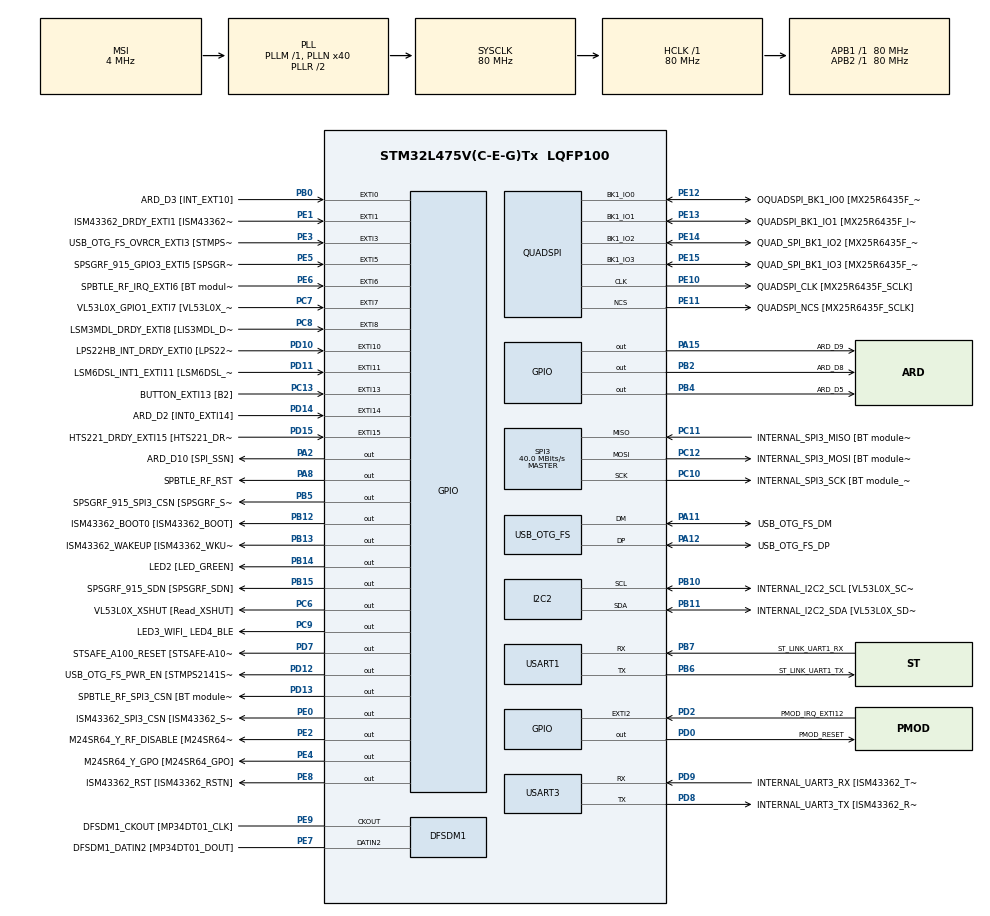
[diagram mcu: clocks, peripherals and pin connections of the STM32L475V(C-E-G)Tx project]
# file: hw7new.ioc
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FREERTOS.Queues01=myQueue01,16,uint16_t,0,Static,myQueue01Buffer,myQueue01ControlBlock
FREERTOS.Tasks01=defaultTask,0,128,StartDefaultTask,Default,NULL,Dynamic,NULL,NULL;myTask02,2,128,StartTask02,Default,NULL,Static,myTask02Buffer,myTask02ControlBlock;myTask03,1,128,StartTask03,Default,NULL,Static,myTask03Buffer,myTask03ControlBlock;myTask04,0,128,StartTask04,Default,NULL,Static,myTask04Buffer,myTask04ControlBlock
Mcu.Family=STM32L4
Mcu.Name=STM32L475V(C-E-G)Tx
Mcu.Package=LQFP100
NVIC.EXTI15_10_IRQn=true\:5\:0\:false\:false\:true\:true\:true\:true\:true
NVIC.EXTI9_5_IRQn=true\:5\:0\:false\:false\:true\:true\:true\:true\:true
NVIC.PriorityGroup=NVIC_PRIORITYGROUP_4
PA0.GPIO_Label=ARD_D1 [UART4_TX]
PA0.Signal=UART4_TX
PA1.GPIO_Label=ARD_D0 [UART4_RX]
PA1.Signal=UART4_RX
PA10.GPIO_Label=USB_OTG_FS_ID
PA10.Signal=USB_OTG_FS_ID
PA11.GPIO_Label=USB_OTG_FS_DM
PA11.Mode=Device_Only
PA11.Signal=USB_OTG_FS_DM
PA12.GPIO_Label=USB_OTG_FS_DP
PA12.Mode=Device_Only
PA12.Signal=USB_OTG_FS_DP
PA13\ (JTMS-SWDIO).GPIO_Label=SYS_JTMS_SWDIO
PA13\ (JTMS-SWDIO).Mode=Serial_Wire
PA13\ (JTMS-SWDIO).Signal=SYS_JTMS-SWDIO
PA14\ (JTCK-SWCLK).GPIO_Label=SYS_JTCK_SWCLK
PA14\ (JTCK-SWCLK).Mode=Serial_Wire
PA14\ (JTCK-SWCLK).Signal=SYS_JTCK-SWCLK
PA15\ (JTDI).GPIO_Label=ARD_D9
PA15\ (JTDI).Signal=GPIO_Output
PA2.GPIO_Label=ARD_D10 [SPI_SSN]
PA2.Signal=GPIO_Output
PA3.GPIO_Label=ARD_D4
PA3.Signal=S_TIM2_CH4
PA4.GPIO_Label=ARD_D7
PA4.Signal=ADCx_IN9
PA5.GPIO_Label=ARD_D13 [SPI1_SCK]
PA5.Signal=SPI1_SCK
PA6.GPIO_Label=ARD_D12 [SPI1_MISO]
PA6.Signal=SPI1_MISO
PA7.GPIO_Label=ARD_D11 [SPI1_MOSI]
PA7.Signal=SPI1_MOSI
PA8.GPIO_Label=SPBTLE_RF_RST
PA8.Signal=GPIO_Output
PA9.GPIO_Label=USB_OTG_FS_VBUS [STMPS2141STR_OUT]
PA9.Signal=USB_OTG_FS_VBUS
PB0.GPIO_Label=ARD_D3 [INT_EXT10]
PB0.Signal=GPXTI0
PB1.GPIO_Label=ARD_D6 [ADC1_IN6]
PB1.Signal=ADCx_IN16
PB10.GPIO_Label=INTERNAL_I2C2_SCL [VL53L0X_SCL]
PB10.GPIO_Pu=GPIO_PULLUP
PB10.Mode=I2C
PB10.Signal=I2C2_SCL
PB11.GPIO_Label=INTERNAL_I2C2_SDA [VL53L0X_SDA]
PB11.GPIO_Pu=GPIO_PULLUP
PB11.Mode=I2C
PB11.Signal=I2C2_SDA
PB12.GPIO_Label=ISM43362_BOOT0 [ISM43362_BOOT]
PB12.Signal=GPIO_Output
PB13.GPIO_Label=ISM43362_WAKEUP [ISM43362_WKUP]
PB13.Signal=GPIO_Output
PB14.GPIO_Label=LED2 [LED_GREEN]
PB14.Signal=GPIO_Output
PB15.GPIO_Label=SPSGRF_915_SDN [SPSGRF_SDN]
PB15.Signal=GPIO_Output
PB2.GPIO_Label=ARD_D8
PB2.Signal=GPIO_Output
PB3\ (JTDO-TRACESWO).GPIO_Label=SYS_JTD0_SWO
PB3\ (JTDO-TRACESWO).Signal=SYS_JTDO-SWO
PB4\ (NJTRST).GPIO_Label=ARD_D5
PB4\ (NJTRST).Signal=GPIO_Output
PB5.GPIO_Label=SPSGRF_915_SPI3_CSN [SPSGRF_SPI_CS]
PB5.PinState=GPIO_PIN_SET
PB5.Signal=GPIO_Output
PB6.GPIO_Label=ST_LINK_UART1_TX
PB6.Mode=Asynchronous
PB6.Signal=USART1_TX
PB7.GPIO_Label=ST_LINK_UART1_RX
PB7.Mode=Asynchronous
PB7.Signal=USART1_RX
PB8.GPIO_Label=ARD_D15 [I2C1_SCL]
PB8.Signal=I2C1_SCL
PB9.GPIO_Label=ARD_D14 [I2C1_SDA]
PB9.Signal=I2C1_SDA
PC0.GPIO_Label=ARD_A5 [ADC]
PC0.Signal=ADCx_IN1
PC1.GPIO_Label=ARD_A4 [ADC]
PC1.Signal=ADCx_IN2
PC10.GPIO_Label=INTERNAL_SPI3_SCK [BT module_SPI_SCLK] [ISM43362_SCK]
PC10.Mode=Full_Duplex_Master
PC10.Signal=SPI3_SCK
PC11.GPIO_Label=INTERNAL_SPI3_MISO [BT module_SPI_MISO] [ISM43362_MISO]
PC11.Mode=Full_Duplex_Master
PC11.Signal=SPI3_MISO
PC12.GPIO_Label=INTERNAL_SPI3_MOSI [BT module_SPI_MOSI] [ISM43362_MOSI]
PC12.Mode=Full_Duplex_Master
PC12.Signal=SPI3_MOSI
PC13.GPIO_Label=BUTTON_EXTI13 [B2]
PC13.GPIO_ModeDefaultEXTI=GPIO_MODE_IT_FALLING
PC13.Signal=GPXTI13
PC14-OSC32_IN\ (PC14).Mode=LSE-External-Oscillator
PC14-OSC32_IN\ (PC14).Signal=RCC_OSC32_IN
PC15-OSC32_OUT\ (PC15).Mode=LSE-External-Oscillator
PC15-OSC32_OUT\ (PC15).Signal=RCC_OSC32_OUT
PC2.GPIO_Label=ARD_A3 [ADC]
PC2.Signal=ADCx_IN3
PC3.GPIO_Label=ARD_A2 [ADC]
PC3.Signal=ADCx_IN4
PC4.GPIO_Label=ARD_A1 [ADC]
PC4.Signal=ADCx_IN13
PC5.GPIO_Label=ARD_A0 [ADC]
PC5.Signal=ADCx_IN14
PC6.GPIO_Label=VL53L0X_XSHUT [Read_XSHUT]
PC6.Signal=GPIO_Output
PC7.GPIO_Label=VL53L0X_GPIO1_EXTI7 [VL53L0X_GPIO1]
PC7.Signal=GPXTI7
PC8.GPIO_Label=LSM3MDL_DRDY_EXTI8 [LIS3MDL_DRDY]
PC8.Signal=GPXTI8
PC9.GPIO_Label=LED3_WIFI_ LED4_BLE
PC9.Signal=GPIO_Output
PD0.GPIO_Label=PMOD_RESET
PD0.Signal=GPIO_Output
PD1.GPIO_Label=PMOD_SPI2_SCK
PD1.Signal=SPI2_SCK
PD10.GPIO_Label=LPS22HB_INT_DRDY_EXTI0 [LPS22HB_INT_DRDY] 
PD10.Signal=GPXTI10
PD11.GPIO_Label=LSM6DSL_INT1_EXTI11 [LSM6DSL_INT1]
PD11.Signal=GPXTI11
PD12.GPIO_Label=USB_OTG_FS_PWR_EN [STMPS2141STR_EN]
PD12.Signal=GPIO_Output
PD13.GPIO_Label=SPBTLE_RF_SPI3_CSN [BT module_SPI_CS]
PD13.PinState=GPIO_PIN_SET
PD13.Signal=GPIO_Output
PD14.GPIO_Label=ARD_D2 [INT0_EXTI14]
PD14.Signal=GPXTI14
PD15.GPIO_Label=HTS221_DRDY_EXTI15 [HTS221_DRDY]
PD15.Signal=GPXTI15
PD2.GPIO_Label=PMOD_IRQ_EXTI12
PD2.Signal=GPXTI2
PD3.GPIO_Label=PMOD_UART2_CTS
PD3.Signal=USART2_CTS
PD4.GPIO_Label=PMOD_UART2_RTS
PD4.Signal=USART2_RTS
PD5.GPIO_Label=PMOD_UART2_TX
PD5.Signal=USART2_TX
PD6.GPIO_Label=PMOD_UART2_RX
PD6.Signal=USART2_RX
PD7.GPIO_Label=STSAFE_A100_RESET [STSAFE-A100_RESET]
PD7.Signal=GPIO_Output
PD8.GPIO_Label=INTERNAL_UART3_TX [ISM43362_RX]
PD8.Mode=Asynchronous
PD8.Signal=USART3_TX
PD9.GPIO_Label=INTERNAL_UART3_RX [ISM43362_TX]
PD9.Mode=Asynchronous
PD9.Signal=USART3_RX
PE0.GPIO_Label=ISM43362_SPI3_CSN [ISM43362_SSN]
PE0.PinState=GPIO_PIN_SET
PE0.Signal=GPIO_Output
PE1.GPIO_Label=ISM43362_DRDY_EXTI1 [ISM43362_DATARDY]
PE1.Signal=GPXTI1
PE10.GPIO_Label=QUADSPI_CLK [MX25R6435F_SCLK]
PE10.Mode=Single Bank
PE10.Signal=QUADSPI_CLK
PE11.GPIO_Label=QUADSPI_NCS [MX25R6435F_SCLK]
PE11.Mode=Single Bank
PE11.Signal=QUADSPI_NCS
PE12.GPIO_Label=OQUADSPI_BK1_IO0 [MX25R6435F_IO0]
PE12.Mode=Single Bank
PE12.Signal=QUADSPI_BK1_IO0
PE13.GPIO_Label=QUADSPI_BK1_IO1 [MX25R6435F_IO1]
PE13.Mode=Single Bank
PE13.Signal=QUADSPI_BK1_IO1
PE14.GPIO_Label=QUAD_SPI_BK1_IO2 [MX25R6435F_IO2]
PE14.Mode=Single Bank
PE14.Signal=QUADSPI_BK1_IO2
PE15.GPIO_Label=QUAD_SPI_BK1_IO3 [MX25R6435F_IO3]
PE15.Mode=Single Bank
PE15.Signal=QUADSPI_BK1_IO3
PE2.GPIO_Label=M24SR64_Y_RF_DISABLE [M24SR64_RFDIS]
PE2.Signal=GPIO_Output
PE3.GPIO_Label=USB_OTG_FS_OVRCR_EXTI3 [STMPS2141STR_FAULT]
PE3.Signal=GPXTI3
PE4.GPIO_Label=M24SR64_Y_GPO [M24SR64_GPO]
PE4.Signal=GPIO_Output
PE5.GPIO_Label=SPSGRF_915_GPIO3_EXTI5 [SPSGRF_GPIO_3]
PE5.Signal=GPXTI5
PE6.GPIO_Label=SPBTLE_RF_IRQ_EXTI6 [BT module_SPI_IRQ]
PE6.Signal=GPXTI6
PE7.GPIO_Label=DFSDM1_DATIN2 [MP34DT01_DOUT]
PE7.Signal=S_DATAIN2DFSDM1
PE8.GPIO_Label=ISM43362_RST [ISM43362_RSTN]
PE8.Signal=GPIO_Output
PE9.GPIO_Label=DFSDM1_CKOUT [MP34DT01_CLK]
PE9.Signal=S_CKOUTDFSDM1
ProjectManager.HeapSize=0x200
ProjectManager.StackSize=0x400
ProjectManager.TargetToolchain=STM32CubeIDE
QUADSPI.ClockPrescaler=2
QUADSPI.FifoThreshold=4
QUADSPI.FlashSize=23
QUADSPI.SampleShifting=QSPI_SAMPLE_SHIFTING_HALFCYCLE
RCC.ADCFreq_Value=48000000
RCC.AHBFreq_Value=80000000
RCC.APB1Freq_Value=80000000
RCC.APB1TimFreq_Value=80000000
RCC.APB2Freq_Value=80000000
RCC.APB2TimFreq_Value=80000000
RCC.CortexFreq_Value=80000000
RCC.HCLKFreq_Value=80000000
RCC.HSE_VALUE=8000000
RCC.HSI_VALUE=16000000
RCC.MSI_VALUE=4000000
RCC.PLLN=40
RCC.PLLSAI1N=24
RCC.SYSCLKFreq_VALUE=80000000
RCC.SYSCLKSource=RCC_SYSCLKSOURCE_PLLCLK
RCC.USBFreq_Value=48000000
RCC.VCOOutputFreq_Value=160000000
SH.ADCx_IN1.0=ADC1_IN1
SH.ADCx_IN13.0=ADC1_IN13
SH.ADCx_IN14.0=ADC1_IN14
SH.ADCx_IN16.0=ADC1_IN16
SH.ADCx_IN2.0=ADC1_IN2
SH.ADCx_IN3.0=ADC1_IN3
SH.ADCx_IN4.0=ADC1_IN4
SH.ADCx_IN9.0=ADC1_IN9
SH.S_CKOUTDFSDM1.0=DFSDM1_CKOUT,CKOUT
SH.S_CKOUTDFSDM1.1=DFSDM1_CKOUT,PDM_SPI_Input_from_ch12_and_Internal_Clock
SH.S_DATAIN2DFSDM1.0=DFSDM1_DATIN2,PDM_SPI_Input_from_ch12_and_Internal_Clock
SH.S_TIM2_CH4.0=TIM2_CH4
SPI3.CalculateBaudRate=40.0 MBits/s
SPI3.Direction=SPI_DIRECTION_2LINES
SPI3.Mode=SPI_MODE_MASTER
SPI3.VirtualType=VM_MASTER
USART1.VirtualMode-Asynchronous=VM_ASYNC
USART3.VirtualMode-Asynchronous=VM_ASYNC
USB_OTG_FS.VirtualMode=Device_Only
VP_FREERTOS_VS_CMSIS_V1.Mode=CMSIS_V1
board=B-L475E-IOT01A2

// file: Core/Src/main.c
/* USER CODE BEGIN Header */
/**
  ******************************************************************************
  * @file           : main.c
  * @brief          : Main program body
  ******************************************************************************
  * @attention
  *
  * Copyright (c) 2025 STMicroelectronics.
  * All rights reserved.
  *
  * This software is licensed under terms that can be found in the LICENSE file
  * in the root directory of this software component.
  * If no LICENSE file comes with this software, it is provided AS-IS.
  *
  ******************************************************************************
  */
/* USER CODE END Header */
#include "main.h"
#include "cmsis_os.h"

/* USER CODE BEGIN Includes */
#include "arm_math.h"
#include "stm32l475e_iot01_accelero.h"
#include <stdio.h>

/* USER CODE END Includes */

DFSDM_Channel_HandleTypeDef hdfsdm1_channel1;

I2C_HandleTypeDef hi2c2;

QSPI_HandleTypeDef hqspi;

SPI_HandleTypeDef hspi3;

UART_HandleTypeDef huart1;
UART_HandleTypeDef huart3;

PCD_HandleTypeDef hpcd_USB_OTG_FS;

osThreadId defaultTaskHandle;
osThreadId myTask02Handle;
uint32_t myTask02Buffer[ 128 ];
osStaticThreadDef_t myTask02ControlBlock;
osThreadId myTask03Handle;
uint32_t myTask03Buffer[ 128 ];
osStaticThreadDef_t myTask03ControlBlock;
osThreadId myTask04Handle;
uint32_t myTask04Buffer[ 128 ];
osStaticThreadDef_t myTask04ControlBlock;
osMessageQId myQueue01Handle;
uint8_t myQueue01Buffer[ 16 * sizeof( uint16_t ) ];
osStaticMessageQDef_t myQueue01ControlBlock;
/* USER CODE BEGIN PV */
#define BLOCK_SIZE 1
#define NUM_TAPS 5

// FIR coefficients: simple low-pass filter (moving average)
float32_t firCoeffs[NUM_TAPS] = {
    0.2, 0.2, 0.2, 0.2, 0.2
};

// FIR filter instances for X, Y, Z
arm_fir_instance_f32 Sx, Sy, Sz;

// State buffers (must be size NUM_TAPS + BLOCK_SIZE - 1)
float32_t firStateX[NUM_TAPS + BLOCK_SIZE - 1];
float32_t firStateY[NUM_TAPS + BLOCK_SIZE - 1];
float32_t firStateZ[NUM_TAPS + BLOCK_SIZE - 1];

// Input/output buffers
float32_t inputX, inputY, inputZ;
float32_t outputX, outputY, outputZ;
/* USER CODE END PV */

void SystemClock_Config(void);
static void MX_GPIO_Init(void);
static void MX_DFSDM1_Init(void);
static void MX_I2C2_Init(void);
static void MX_QUADSPI_Init(void);
static void MX_SPI3_Init(void);
static void MX_USART1_UART_Init(void);
static void MX_USART3_UART_Init(void);
static void MX_USB_OTG_FS_PCD_Init(void);
void StartDefaultTask(void const * argument);
void StartTask02(void const * argument);
void StartTask03(void const * argument);
void StartTask04(void const * argument);

/* USER CODE BEGIN PFP */
int __io_putchar(int ch){
	HAL_UART_Transmit(&huart1, (uint8_t *)&ch, 1, 0xFFFF);
	return ch;
}

/* USER CODE END PFP */

int main(void)
{

  /* MCU Configuration--------------------------------------------------------*/

  /* Reset of all peripherals, Initializes the Flash interface and the Systick. */
  HAL_Init();

  /* Configure the system clock */
  SystemClock_Config();

  /* Initialize all configured peripherals */
  MX_GPIO_Init();
  MX_DFSDM1_Init();
  MX_I2C2_Init();
  MX_QUADSPI_Init();
  MX_SPI3_Init();
  MX_USART1_UART_Init();
  MX_USART3_UART_Init();
  MX_USB_OTG_FS_PCD_Init();
  /* USER CODE BEGIN 2 */
  BSP_ACCELERO_Init();

  /* USER CODE END 2 */

  /* Create the queue(s) */
  /* definition and creation of myQueue01 */
  osMessageQStaticDef(myQueue01, 16, uint16_t, myQueue01Buffer, &myQueue01ControlBlock);
  myQueue01Handle = osMessageCreate(osMessageQ(myQueue01), NULL);

  /* Create the thread(s) */
  /* definition and creation of defaultTask */
  osThreadDef(defaultTask, StartDefaultTask, osPriorityNormal, 0, 128);
  defaultTaskHandle = osThreadCreate(osThread(defaultTask), NULL);

  /* definition and creation of myTask02 */
  osThreadStaticDef(myTask02, StartTask02, osPriorityHigh, 0, 128, myTask02Buffer, &myTask02ControlBlock);
  myTask02Handle = osThreadCreate(osThread(myTask02), NULL);

  /* definition and creation of myTask03 */
  osThreadStaticDef(myTask03, StartTask03, osPriorityAboveNormal, 0, 128, myTask03Buffer, &myTask03ControlBlock);
  myTask03Handle = osThreadCreate(osThread(myTask03), NULL);

  /* definition and creation of myTask04 */
  osThreadStaticDef(myTask04, StartTask04, osPriorityNormal, 0, 128, myTask04Buffer, &myTask04ControlBlock);
  myTask04Handle = osThreadCreate(osThread(myTask04), NULL);

  /* Start scheduler */
  osKernelStart();

  /* We should never get here as control is now taken by the scheduler */

  /* Infinite loop */
  while (1)
  {

  }
}

void SystemClock_Config(void)
{
  RCC_OscInitTypeDef RCC_OscInitStruct = {0};
  RCC_ClkInitTypeDef RCC_ClkInitStruct = {0};

  /** Configure the main internal regulator output voltage
  */
  if (HAL_PWREx_ControlVoltageScaling(PWR_REGULATOR_VOLTAGE_SCALE1) != HAL_OK)
  {
    Error_Handler();
  }

  /** Configure LSE Drive Capability
  */
  HAL_PWR_EnableBkUpAccess();
  __HAL_RCC_LSEDRIVE_CONFIG(RCC_LSEDRIVE_LOW);

  /** Initializes the RCC Oscillators according to the specified parameters
  * in the RCC_OscInitTypeDef structure.
  */
  RCC_OscInitStruct.OscillatorType = RCC_OSCILLATORTYPE_LSE|RCC_OSCILLATORTYPE_MSI;
  RCC_OscInitStruct.LSEState = RCC_LSE_ON;
  RCC_OscInitStruct.MSIState = RCC_MSI_ON;
  RCC_OscInitStruct.MSICalibrationValue = 0;
  RCC_OscInitStruct.MSIClockRange = RCC_MSIRANGE_6;
  RCC_OscInitStruct.PLL.PLLState = RCC_PLL_ON;
  RCC_OscInitStruct.PLL.PLLSource = RCC_PLLSOURCE_MSI;
  RCC_OscInitStruct.PLL.PLLM = 1;
  RCC_OscInitStruct.PLL.PLLN = 40;
  RCC_OscInitStruct.PLL.PLLP = RCC_PLLP_DIV7;
  RCC_OscInitStruct.PLL.PLLQ = RCC_PLLQ_DIV2;
  RCC_OscInitStruct.PLL.PLLR = RCC_PLLR_DIV2;
  if (HAL_RCC_OscConfig(&RCC_OscInitStruct) != HAL_OK)
  {
    Error_Handler();
  }

  /** Initializes the CPU, AHB and APB buses clocks
  */
  RCC_ClkInitStruct.ClockType = RCC_CLOCKTYPE_HCLK|RCC_CLOCKTYPE_SYSCLK
                              |RCC_CLOCKTYPE_PCLK1|RCC_CLOCKTYPE_PCLK2;
  RCC_ClkInitStruct.SYSCLKSource = RCC_SYSCLKSOURCE_PLLCLK;
  RCC_ClkInitStruct.AHBCLKDivider = RCC_SYSCLK_DIV1;
  RCC_ClkInitStruct.APB1CLKDivider = RCC_HCLK_DIV1;
  RCC_ClkInitStruct.APB2CLKDivider = RCC_HCLK_DIV1;

  if (HAL_RCC_ClockConfig(&RCC_ClkInitStruct, FLASH_LATENCY_4) != HAL_OK)
  {
    Error_Handler();
  }

  /** Enable MSI Auto calibration
  */
  HAL_RCCEx_EnableMSIPLLMode();
}

static void MX_DFSDM1_Init(void)
{

  hdfsdm1_channel1.Instance = DFSDM1_Channel1;
  hdfsdm1_channel1.Init.OutputClock.Activation = ENABLE;
  hdfsdm1_channel1.Init.OutputClock.Selection = DFSDM_CHANNEL_OUTPUT_CLOCK_SYSTEM;
  hdfsdm1_channel1.Init.OutputClock.Divider = 2;
  hdfsdm1_channel1.Init.Input.Multiplexer = DFSDM_CHANNEL_EXTERNAL_INPUTS;
  hdfsdm1_channel1.Init.Input.DataPacking = DFSDM_CHANNEL_STANDARD_MODE;
  hdfsdm1_channel1.Init.Input.Pins = DFSDM_CHANNEL_FOLLOWING_CHANNEL_PINS;
  hdfsdm1_channel1.Init.SerialInterface.Type = DFSDM_CHANNEL_SPI_RISING;
  hdfsdm1_channel1.Init.SerialInterface.SpiClock = DFSDM_CHANNEL_SPI_CLOCK_INTERNAL;
  hdfsdm1_channel1.Init.Awd.FilterOrder = DFSDM_CHANNEL_FASTSINC_ORDER;
  hdfsdm1_channel1.Init.Awd.Oversampling = 1;
  hdfsdm1_channel1.Init.Offset = 0;
  hdfsdm1_channel1.Init.RightBitShift = 0x00;
  if (HAL_DFSDM_ChannelInit(&hdfsdm1_channel1) != HAL_OK)
  {
    Error_Handler();
  }

}

static void MX_I2C2_Init(void)
{

  hi2c2.Instance = I2C2;
  hi2c2.Init.Timing = 0x00000E14;
  hi2c2.Init.OwnAddress1 = 0;
  hi2c2.Init.AddressingMode = I2C_ADDRESSINGMODE_7BIT;
  hi2c2.Init.DualAddressMode = I2C_DUALADDRESS_DISABLE;
  hi2c2.Init.OwnAddress2 = 0;
  hi2c2.Init.OwnAddress2Masks = I2C_OA2_NOMASK;
  hi2c2.Init.GeneralCallMode = I2C_GENERALCALL_DISABLE;
  hi2c2.Init.NoStretchMode = I2C_NOSTRETCH_DISABLE;
  if (HAL_I2C_Init(&hi2c2) != HAL_OK)
  {
    Error_Handler();
  }

  /** Configure Analogue filter
  */
  if (HAL_I2CEx_ConfigAnalogFilter(&hi2c2, I2C_ANALOGFILTER_ENABLE) != HAL_OK)
  {
    Error_Handler();
  }

  /** Configure Digital filter
  */
  if (HAL_I2CEx_ConfigDigitalFilter(&hi2c2, 0) != HAL_OK)
  {
    Error_Handler();
  }

}

static void MX_QUADSPI_Init(void)
{

  /* QUADSPI parameter configuration*/
  hqspi.Instance = QUADSPI;
  hqspi.Init.ClockPrescaler = 2;
  hqspi.Init.FifoThreshold = 4;
  hqspi.Init.SampleShifting = QSPI_SAMPLE_SHIFTING_HALFCYCLE;
  hqspi.Init.FlashSize = 23;
  hqspi.Init.ChipSelectHighTime = QSPI_CS_HIGH_TIME_1_CYCLE;
  hqspi.Init.ClockMode = QSPI_CLOCK_MODE_0;
  if (HAL_QSPI_Init(&hqspi) != HAL_OK)
  {
    Error_Handler();
  }

}

static void MX_SPI3_Init(void)
{

  /* SPI3 parameter configuration*/
  hspi3.Instance = SPI3;
  hspi3.Init.Mode = SPI_MODE_MASTER;
  hspi3.Init.Direction = SPI_DIRECTION_2LINES;
  hspi3.Init.DataSize = SPI_DATASIZE_4BIT;
  hspi3.Init.CLKPolarity = SPI_POLARITY_LOW;
  hspi3.Init.CLKPhase = SPI_PHASE_1EDGE;
  hspi3.Init.NSS = SPI_NSS_SOFT;
  hspi3.Init.BaudRatePrescaler = SPI_BAUDRATEPRESCALER_2;
  hspi3.Init.FirstBit = SPI_FIRSTBIT_MSB;
  hspi3.Init.TIMode = SPI_TIMODE_DISABLE;
  hspi3.Init.CRCCalculation = SPI_CRCCALCULATION_DISABLE;
  hspi3.Init.CRCPolynomial = 7;
  hspi3.Init.CRCLength = SPI_CRC_LENGTH_DATASIZE;
  hspi3.Init.NSSPMode = SPI_NSS_PULSE_ENABLE;
  if (HAL_SPI_Init(&hspi3) != HAL_OK)
  {
    Error_Handler();
  }

}

static void MX_USART1_UART_Init(void)
{

  huart1.Instance = USART1;
  huart1.Init.BaudRate = 115200;
  huart1.Init.WordLength = UART_WORDLENGTH_8B;
  huart1.Init.StopBits = UART_STOPBITS_1;
  huart1.Init.Parity = UART_PARITY_NONE;
  huart1.Init.Mode = UART_MODE_TX_RX;
  huart1.Init.HwFlowCtl = UART_HWCONTROL_NONE;
  huart1.Init.OverSampling = UART_OVERSAMPLING_16;
  huart1.Init.OneBitSampling = UART_ONE_BIT_SAMPLE_DISABLE;
  huart1.AdvancedInit.AdvFeatureInit = UART_ADVFEATURE_NO_INIT;
  if (HAL_UART_Init(&huart1) != HAL_OK)
  {
    Error_Handler();
  }

}

static void MX_USART3_UART_Init(void)
{

  huart3.Instance = USART3;
  huart3.Init.BaudRate = 115200;
  huart3.Init.WordLength = UART_WORDLENGTH_8B;
  huart3.Init.StopBits = UART_STOPBITS_1;
  huart3.Init.Parity = UART_PARITY_NONE;
  huart3.Init.Mode = UART_MODE_TX_RX;
  huart3.Init.HwFlowCtl = UART_HWCONTROL_NONE;
  huart3.Init.OverSampling = UART_OVERSAMPLING_16;
  huart3.Init.OneBitSampling = UART_ONE_BIT_SAMPLE_DISABLE;
  huart3.AdvancedInit.AdvFeatureInit = UART_ADVFEATURE_NO_INIT;
  if (HAL_UART_Init(&huart3) != HAL_OK)
  {
    Error_Handler();
  }

}

static void MX_USB_OTG_FS_PCD_Init(void)
{

  hpcd_USB_OTG_FS.Instance = USB_OTG_FS;
  hpcd_USB_OTG_FS.Init.dev_endpoints = 6;
  hpcd_USB_OTG_FS.Init.speed = PCD_SPEED_FULL;
  hpcd_USB_OTG_FS.Init.phy_itface = PCD_PHY_EMBEDDED;
  hpcd_USB_OTG_FS.Init.Sof_enable = DISABLE;
  hpcd_USB_OTG_FS.Init.low_power_enable = DISABLE;
  hpcd_USB_OTG_FS.Init.lpm_enable = DISABLE;
  hpcd_USB_OTG_FS.Init.battery_charging_enable = DISABLE;
  hpcd_USB_OTG_FS.Init.use_dedicated_ep1 = DISABLE;
  hpcd_USB_OTG_FS.Init.vbus_sensing_enable = DISABLE;
  if (HAL_PCD_Init(&hpcd_USB_OTG_FS) != HAL_OK)
  {
    Error_Handler();
  }

}

static void MX_GPIO_Init(void)
{
  GPIO_InitTypeDef GPIO_InitStruct = {0};

  /* GPIO Ports Clock Enable */
  __HAL_RCC_GPIOE_CLK_ENABLE();
  __HAL_RCC_GPIOC_CLK_ENABLE();
  __HAL_RCC_GPIOA_CLK_ENABLE();
  __HAL_RCC_GPIOB_CLK_ENABLE();
  __HAL_RCC_GPIOD_CLK_ENABLE();

  /*Configure GPIO pin Output Level */
  HAL_GPIO_WritePin(GPIOE, M24SR64_Y_RF_DISABLE_Pin|M24SR64_Y_GPO_Pin|ISM43362_RST_Pin, GPIO_PIN_RESET);

  /*Configure GPIO pin Output Level */
  HAL_GPIO_WritePin(GPIOA, ARD_D10_Pin|SPBTLE_RF_RST_Pin|ARD_D9_Pin, GPIO_PIN_RESET);

  /*Configure GPIO pin Output Level */
  HAL_GPIO_WritePin(GPIOB, ARD_D8_Pin|ISM43362_BOOT0_Pin|ISM43362_WAKEUP_Pin|LED2_Pin
                          |SPSGRF_915_SDN_Pin|ARD_D5_Pin, GPIO_PIN_RESET);

  /*Configure GPIO pin Output Level */
  HAL_GPIO_WritePin(GPIOD, USB_OTG_FS_PWR_EN_Pin|PMOD_RESET_Pin|STSAFE_A100_RESET_Pin, GPIO_PIN_RESET);

  /*Configure GPIO pin Output Level */
  HAL_GPIO_WritePin(SPBTLE_RF_SPI3_CSN_GPIO_Port, SPBTLE_RF_SPI3_CSN_Pin, GPIO_PIN_SET);

  /*Configure GPIO pin Output Level */
  HAL_GPIO_WritePin(GPIOC, VL53L0X_XSHUT_Pin|LED3_WIFI__LED4_BLE_Pin, GPIO_PIN_RESET);

  /*Configure GPIO pin Output Level */
  HAL_GPIO_WritePin(SPSGRF_915_SPI3_CSN_GPIO_Port, SPSGRF_915_SPI3_CSN_Pin, GPIO_PIN_SET);

  /*Configure GPIO pin Output Level */
  HAL_GPIO_WritePin(ISM43362_SPI3_CSN_GPIO_Port, ISM43362_SPI3_CSN_Pin, GPIO_PIN_SET);

  /*Configure GPIO pins : M24SR64_Y_RF_DISABLE_Pin M24SR64_Y_GPO_Pin ISM43362_RST_Pin ISM43362_SPI3_CSN_Pin */
  GPIO_InitStruct.Pin = M24SR64_Y_RF_DISABLE_Pin|M24SR64_Y_GPO_Pin|ISM43362_RST_Pin|ISM43362_SPI3_CSN_Pin;
  GPIO_InitStruct.Mode = GPIO_MODE_OUTPUT_PP;
  GPIO_InitStruct.Pull = GPIO_NOPULL;
  GPIO_InitStruct.Speed = GPIO_SPEED_FREQ_LOW;
  HAL_GPIO_Init(GPIOE, &GPIO_InitStruct);

  /*Configure GPIO pins : USB_OTG_FS_OVRCR_EXTI3_Pin SPSGRF_915_GPIO3_EXTI5_Pin SPBTLE_RF_IRQ_EXTI6_Pin ISM43362_DRDY_EXTI1_Pin */
  GPIO_InitStruct.Pin = USB_OTG_FS_OVRCR_EXTI3_Pin|SPSGRF_915_GPIO3_EXTI5_Pin|SPBTLE_RF_IRQ_EXTI6_Pin|ISM43362_DRDY_EXTI1_Pin;
  GPIO_InitStruct.Mode = GPIO_MODE_IT_RISING;
  GPIO_InitStruct.Pull = GPIO_NOPULL;
  HAL_GPIO_Init(GPIOE, &GPIO_InitStruct);

  /*Configure GPIO pin : BUTTON_EXTI13_Pin */
  GPIO_InitStruct.Pin = BUTTON_EXTI13_Pin;
  GPIO_InitStruct.Mode = GPIO_MODE_IT_FALLING;
  GPIO_InitStruct.Pull = GPIO_NOPULL;
  HAL_GPIO_Init(BUTTON_EXTI13_GPIO_Port, &GPIO_InitStruct);

  /*Configure GPIO pins : ARD_A5_Pin ARD_A4_Pin ARD_A3_Pin ARD_A2_Pin
                           ARD_A1_Pin ARD_A0_Pin */
  GPIO_InitStruct.Pin = ARD_A5_Pin|ARD_A4_Pin|ARD_A3_Pin|ARD_A2_Pin
                          |ARD_A1_Pin|ARD_A0_Pin;
  GPIO_InitStruct.Mode = GPIO_MODE_ANALOG_ADC_CONTROL;
  GPIO_InitStruct.Pull = GPIO_NOPULL;
  HAL_GPIO_Init(GPIOC, &GPIO_InitStruct);

  /*Configure GPIO pins : ARD_D1_Pin ARD_D0_Pin */
  GPIO_InitStruct.Pin = ARD_D1_Pin|ARD_D0_Pin;
  GPIO_InitStruct.Mode = GPIO_MODE_AF_PP;
  GPIO_InitStruct.Pull = GPIO_NOPULL;
  GPIO_InitStruct.Speed = GPIO_SPEED_FREQ_VERY_HIGH;
  GPIO_InitStruct.Alternate = GPIO_AF8_UART4;
  HAL_GPIO_Init(GPIOA, &GPIO_InitStruct);

  /*Configure GPIO pins : ARD_D10_Pin SPBTLE_RF_RST_Pin ARD_D9_Pin */
  GPIO_InitStruct.Pin = ARD_D10_Pin|SPBTLE_RF_RST_Pin|ARD_D9_Pin;
  GPIO_InitStruct.Mode = GPIO_MODE_OUTPUT_PP;
  GPIO_InitStruct.Pull = GPIO_NOPULL;
  GPIO_InitStruct.Speed = GPIO_SPEED_FREQ_LOW;
  HAL_GPIO_Init(GPIOA, &GPIO_InitStruct);

  /*Configure GPIO pin : ARD_D4_Pin */
  GPIO_InitStruct.Pin = ARD_D4_Pin;
  GPIO_InitStruct.Mode = GPIO_MODE_AF_PP;
  GPIO_InitStruct.Pull = GPIO_NOPULL;
  GPIO_InitStruct.Speed = GPIO_SPEED_FREQ_LOW;
  GPIO_InitStruct.Alternate = GPIO_AF1_TIM2;
  HAL_GPIO_Init(ARD_D4_GPIO_Port, &GPIO_InitStruct);

  /*Configure GPIO pin : ARD_D7_Pin */
  GPIO_InitStruct.Pin = ARD_D7_Pin;
  GPIO_InitStruct.Mode = GPIO_MODE_ANALOG_ADC_CONTROL;
  GPIO_InitStruct.Pull = GPIO_NOPULL;
  HAL_GPIO_Init(ARD_D7_GPIO_Port, &GPIO_InitStruct);

  /*Configure GPIO pins : ARD_D13_Pin ARD_D12_Pin ARD_D11_Pin */
  GPIO_InitStruct.Pin = ARD_D13_Pin|ARD_D12_Pin|ARD_D11_Pin;
  GPIO_InitStruct.Mode = GPIO_MODE_AF_PP;
  GPIO_InitStruct.Pull = GPIO_NOPULL;
  GPIO_InitStruct.Speed = GPIO_SPEED_FREQ_VERY_HIGH;
  GPIO_InitStruct.Alternate = GPIO_AF5_SPI1;
  HAL_GPIO_Init(GPIOA, &GPIO_InitStruct);

  /*Configure GPIO pin : ARD_D3_Pin */
  GPIO_InitStruct.Pin = ARD_D3_Pin;
  GPIO_InitStruct.Mode = GPIO_MODE_IT_RISING;
  GPIO_InitStruct.Pull = GPIO_NOPULL;
  HAL_GPIO_Init(ARD_D3_GPIO_Port, &GPIO_InitStruct);

  /*Configure GPIO pin : ARD_D6_Pin */
  GPIO_InitStruct.Pin = ARD_D6_Pin;
  GPIO_InitStruct.Mode = GPIO_MODE_ANALOG_ADC_CONTROL;
  GPIO_InitStruct.Pull = GPIO_NOPULL;
  HAL_GPIO_Init(ARD_D6_GPIO_Port, &GPIO_InitStruct);

  /*Configure GPIO pins : ARD_D8_Pin ISM43362_BOOT0_Pin ISM43362_WAKEUP_Pin LED2_Pin
                           SPSGRF_915_SDN_Pin ARD_D5_Pin SPSGRF_915_SPI3_CSN_Pin */
  GPIO_InitStruct.Pin = ARD_D8_Pin|ISM43362_BOOT0_Pin|ISM43362_WAKEUP_Pin|LED2_Pin
                          |SPSGRF_915_SDN_Pin|ARD_D5_Pin|SPSGRF_915_SPI3_CSN_Pin;
  GPIO_InitStruct.Mode = GPIO_MODE_OUTPUT_PP;
  GPIO_InitStruct.Pull = GPIO_NOPULL;
  GPIO_InitStruct.Speed = GPIO_SPEED_FREQ_LOW;
  HAL_GPIO_Init(GPIOB, &GPIO_InitStruct);

  /*Configure GPIO pins : LPS22HB_INT_DRDY_EXTI0_Pin LSM6DSL_INT1_EXTI11_Pin ARD_D2_Pin HTS221_DRDY_EXTI15_Pin
                           PMOD_IRQ_EXTI12_Pin */
  GPIO_InitStruct.Pin = LPS22HB_INT_DRDY_EXTI0_Pin|LSM6DSL_INT1_EXTI11_Pin|ARD_D2_Pin|HTS221_DRDY_EXTI15_Pin
                          |PMOD_IRQ_EXTI12_Pin;
  GPIO_InitStruct.Mode = GPIO_MODE_IT_RISING;
  GPIO_InitStruct.Pull = GPIO_NOPULL;
  HAL_GPIO_Init(GPIOD, &GPIO_InitStruct);

  /*Configure GPIO pins : USB_OTG_FS_PWR_EN_Pin SPBTLE_RF_SPI3_CSN_Pin PMOD_RESET_Pin STSAFE_A100_RESET_Pin */
  GPIO_InitStruct.Pin = USB_OTG_FS_PWR_EN_Pin|SPBTLE_RF_SPI3_CSN_Pin|PMOD_RESET_Pin|STSAFE_A100_RESET_Pin;
  GPIO_InitStruct.Mode = GPIO_MODE_OUTPUT_PP;
  GPIO_InitStruct.Pull = GPIO_NOPULL;
  GPIO_InitStruct.Speed = GPIO_SPEED_FREQ_LOW;
  HAL_GPIO_Init(GPIOD, &GPIO_InitStruct);

  /*Configure GPIO pins : VL53L0X_XSHUT_Pin LED3_WIFI__LED4_BLE_Pin */
  GPIO_InitStruct.Pin = VL53L0X_XSHUT_Pin|LED3_WIFI__LED4_BLE_Pin;
  GPIO_InitStruct.Mode = GPIO_MODE_OUTPUT_PP;
  GPIO_InitStruct.Pull = GPIO_NOPULL;
  GPIO_InitStruct.Speed = GPIO_SPEED_FREQ_LOW;
  HAL_GPIO_Init(GPIOC, &GPIO_InitStruct);

  /*Configure GPIO pins : VL53L0X_GPIO1_EXTI7_Pin LSM3MDL_DRDY_EXTI8_Pin */
  GPIO_InitStruct.Pin = VL53L0X_GPIO1_EXTI7_Pin|LSM3MDL_DRDY_EXTI8_Pin;
  GPIO_InitStruct.Mode = GPIO_MODE_IT_RISING;
  GPIO_InitStruct.Pull = GPIO_NOPULL;
  HAL_GPIO_Init(GPIOC, &GPIO_InitStruct);

  /*Configure GPIO pin : PMOD_SPI2_SCK_Pin */
  GPIO_InitStruct.Pin = PMOD_SPI2_SCK_Pin;
  GPIO_InitStruct.Mode = GPIO_MODE_AF_PP;
  GPIO_InitStruct.Pull = GPIO_NOPULL;
  GPIO_InitStruct.Speed = GPIO_SPEED_FREQ_VERY_HIGH;
  GPIO_InitStruct.Alternate = GPIO_AF5_SPI2;
  HAL_GPIO_Init(PMOD_SPI2_SCK_GPIO_Port, &GPIO_InitStruct);

  /*Configure GPIO pins : PMOD_UART2_CTS_Pin PMOD_UART2_RTS_Pin PMOD_UART2_TX_Pin PMOD_UART2_RX_Pin */
  GPIO_InitStruct.Pin = PMOD_UART2_CTS_Pin|PMOD_UART2_RTS_Pin|PMOD_UART2_TX_Pin|PMOD_UART2_RX_Pin;
  GPIO_InitStruct.Mode = GPIO_MODE_AF_PP;
  GPIO_InitStruct.Pull = GPIO_NOPULL;
  GPIO_InitStruct.Speed = GPIO_SPEED_FREQ_VERY_HIGH;
  GPIO_InitStruct.Alternate = GPIO_AF7_USART2;
  HAL_GPIO_Init(GPIOD, &GPIO_InitStruct);

  /*Configure GPIO pins : ARD_D15_Pin ARD_D14_Pin */
  GPIO_InitStruct.Pin = ARD_D15_Pin|ARD_D14_Pin;
  GPIO_InitStruct.Mode = GPIO_MODE_AF_OD;
  GPIO_InitStruct.Pull = GPIO_NOPULL;
  GPIO_InitStruct.Speed = GPIO_SPEED_FREQ_VERY_HIGH;
  GPIO_InitStruct.Alternate = GPIO_AF4_I2C1;
  HAL_GPIO_Init(GPIOB, &GPIO_InitStruct);

  /* EXTI interrupt init*/
  HAL_NVIC_SetPriority(EXTI9_5_IRQn, 5, 0);
  HAL_NVIC_EnableIRQ(EXTI9_5_IRQn);

  HAL_NVIC_SetPriority(EXTI15_10_IRQn, 5, 0);
  HAL_NVIC_EnableIRQ(EXTI15_10_IRQn);

}

void StartDefaultTask(void const * argument)
{
  for(;;)
  {
    osDelay(1);
  }
}

void StartTask02(void const * argument)
{
  /* USER CODE BEGIN StartTask02 */
//	  int16_t pDataXYZ[3];  // <-- Declare the array here

  /* Infinite loop */
//  for(;;)
//  {
//
//	    osDelay(100);
//	  	BSP_ACCELERO_AccGetXYZ(pDataXYZ);
//	  	printf("x: %d, y: %d, z: %d\n", pDataXYZ[0], pDataXYZ[1], pDataXYZ[2]);
//
//
//  }
//#define PI 3.14159265f

   // FIR setup
   arm_fir_init_f32(&Sx, NUM_TAPS, firCoeffs, firStateX, BLOCK_SIZE);

   float32_t noisy_input, filtered_output;
   float32_t angle = 0.0f;
   float32_t step = 2 * PI / 50;  // ~1Hz sine wave if loop runs at 10Hz
   int counter = 0;

   for (;;)
   {
       osDelay(100);  // 10 Hz

       // Simulate sine wave + noise
       float32_t sine = 100.0f * arm_sin_f32(angle);
       float32_t noise = ((rand() % 200) - 100) * 0.5f;  // ±50 noise
       noisy_input = sine + noise;

       // FIR filter
       arm_fir_f32(&Sx, &noisy_input, &filtered_output, BLOCK_SIZE);

       // Print input vs filtered
       printf("(%6.1f,%6.1f)", counter++, noisy_input, filtered_output);

       angle += step;
       if (angle > 2 * PI) angle -= 2 * PI;
   }
   /* USER CODE END StartTask02 */
  /* USER CODE END StartTask02 */
}

void StartTask03(void const * argument)
{
  for(;;)
  {
    osDelay(1);
  }
}

void StartTask04(void const * argument)
{
  for(;;)
  {
    osDelay(1);
  }
}

void Error_Handler(void)
{
  __disable_irq();
  while (1)
  {
  }
}
